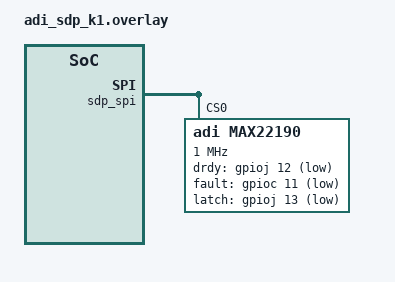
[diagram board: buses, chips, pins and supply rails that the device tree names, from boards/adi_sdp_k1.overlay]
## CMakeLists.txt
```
# Copyright (c) 2010-2024 Analog Devices Inc.
# Copyright (c) 2024 BayLibre SAS
# SPDX-License-Identifier: Apache-2.0

cmake_minimum_required(VERSION 3.20.0)
find_package(Zephyr REQUIRED HINTS $ENV{ZEPHYR_BASE})
project(max22190_sdp_120_pmod)

FILE(GLOB app_sources src/*.c)
target_sources(app PRIVATE ${app_sources})
```

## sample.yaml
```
sample:
  name: MAX22190 8 channel industrial input sensor
tests:
  sample.sensor.max22190:
    tags: sensors
    harness: console
    depends_on:
      - spi
      - gpio
    harness_config:
      type: multi_line
      ordered: true
      regex:
        - "IN_1=[LH]+ WB_1=[LH]+ IN_2=[LH]+ WB_2=[LH]+ IN_3=[LH]+ WB_3=[LH]+ IN_4=[LH]+ WB_4=[LH]+ \
           IN_5=[LH]+ WB_5=[LH]+ IN_6=[LH]+ WB_6=[LH]+ IN_7=[LH]+ WB_7=[LH]+ IN_8=[LH]+ WB_8=[LH]+"
      fixture: fixture_spi_max22190
    filter: dt_compat_enabled("adi,max22190")
```

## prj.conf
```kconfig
CONFIG_CBPRINTF_FP_SUPPORT=y
CONFIG_SPI=y
CONFIG_SENSOR=y
CONFIG_LOG=y
```

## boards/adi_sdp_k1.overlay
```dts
/*
 * Copyright (c) 2010-2024 Analog Devices Inc.
 * Copyright (c) 2024 Baylibre SAS
 *
 * SPDX-License-Identifier: Apache-2.0
 */

&sdp_spi {
	status = "okay";
	pinctrl-names = "default";
	max22190@0 {
		compatible = "adi,max22190";
		reg = <0>;
		spi-max-frequency = <1000000>;
		status = "okay";

		max22190-mode = <1>; // modes range from 0-4

		drdy-gpios = <&gpioj 12 GPIO_ACTIVE_LOW>; /* SDP-GPIO5 - PMOD-PIN8 */
		fault-gpios = <&gpioc 11 GPIO_ACTIVE_LOW>; /* SDP-SERIAL_INT - PMOD-PIN7 */
		latch-gpios = <&gpioj 13 GPIO_ACTIVE_LOW>; /* SDP-GPIO6 - PMOD-PIN9 */
	};
};
```

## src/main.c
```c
/*
 * Copyright (c) 2010-2024 Analog Devices Inc.
 * Copyright (c) 2024 Baylibre SAS
 *
 * SPDX-License-Identifier: Apache-2.0
 */

#include <stdio.h>

#include <zephyr/kernel.h>
#include <zephyr/device.h>
#include <zephyr/drivers/sensor.h>

int main(void)
{
	const struct device *const dev = DEVICE_DT_GET_ANY(adi_max22190);
	struct sensor_value val;

	if (!device_is_ready(dev)) {
		printk("sensor: device not ready.\n");
		return 0;
	}

	while (1) {
		int ret;

		ret = sensor_sample_fetch_chan(dev, SENSOR_CHAN_ALL);
		if (ret < 0) {
			printf("Could not fetch (%d)\n", ret);
			return 0;
		}

		ret = sensor_channel_get(dev, SENSOR_CHAN_ALL, &val);
		if (ret < 0) {
			printf("Could not get  (%d)\n", ret);
			return 0;
		}

		for (int ch_n = 0; ch_n < 8; ch_n++) {
			printf("IN_%d=%c ", ch_n + 1, (val.val1 >> ch_n) & 1 ? 'H' : 'L');
			printf("WB_%d=%c ", ch_n + 1, (val.val2 >> ch_n) & 1 ? 'H' : 'L');
		}
		printf("\n");

		k_sleep(K_MSEC(1000));
	}
	return 0;
}
```
